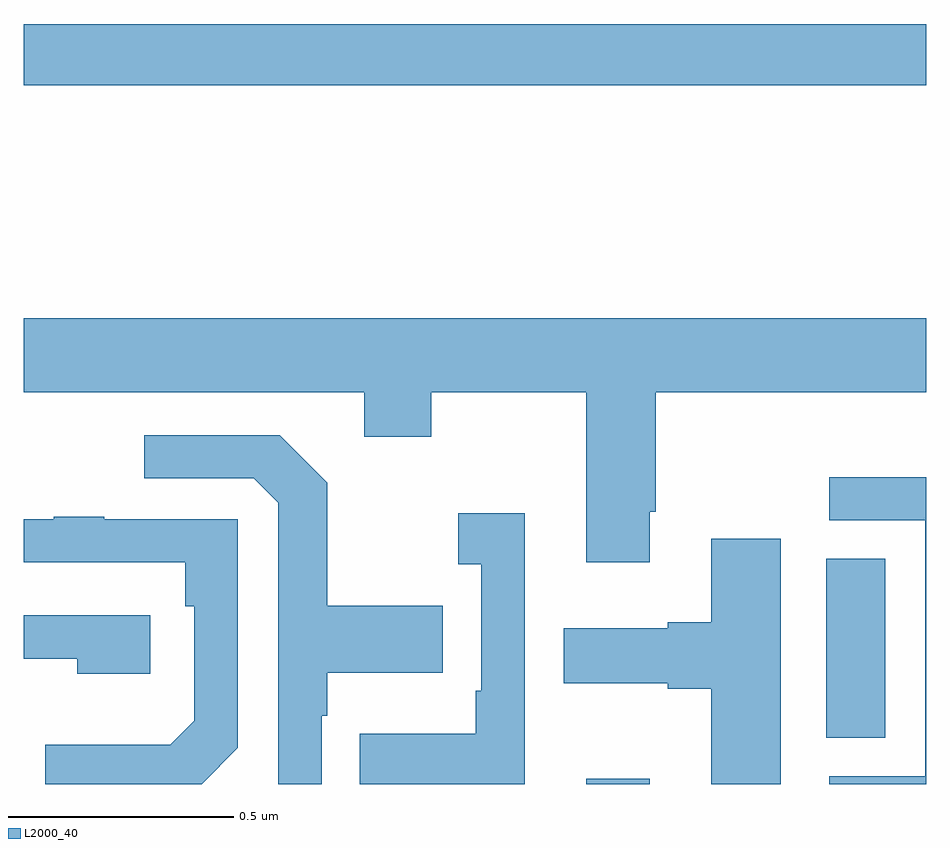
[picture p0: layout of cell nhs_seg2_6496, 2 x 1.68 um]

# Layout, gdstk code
import gdstk
lib = gdstk.Library(unit=1e-6, precision=1e-09)
def R(c, l, rs):  # rectangles x0, y0, x1, y1
    for r in rs: c.add(gdstk.rectangle(r[:2], r[2:], *l))
def P(c, l, *ps):  # polygons
    for p in ps: c.add(gdstk.Polygon(p, *l))
L2000_40 = (2000, 40)

nhs_seg2_6496 = lib.new_cell('nhs_seg2_6496')
R(nhs_seg2_6496, L2000_40, [(193.247,614.8,193.387,614.812), (193.778,614.902,193.909,615.299), (192,616.348,194,616.484)])
P(nhs_seg2_6496, L2000_40, [(193.387,615.403),(193.4,615.403),(193.4,615.668),(194,615.668),(194,615.832),(192,615.832),(192,615.668),(192.755,615.668),(192.755,615.569),(192.903,615.569),(192.903,615.668),(193.247,615.668),(193.247,615.291),(193.387,615.291)],
  [(192.66,614.951),(192.673,614.951),(192.673,615.047),(192.929,615.047),(192.929,615.195),(192.673,615.195),(192.673,615.467),(192.567,615.573),(192.267,615.573),(192.267,615.477),(192.51,615.477),(192.564,615.423),(192.564,614.8),(192.66,614.8)],
  [(194,615.48),(193.785,615.48),(193.785,615.384),(193.998,615.384),(193.998,614.817),(193.785,614.817),(193.785,614.8),(194,614.8)],
  [(193.11,615.4),(192.963,615.4),(192.963,615.287),(193.014,615.287),(193.014,615.007),(193.002,615.007),(193.002,614.911),(192.745,614.911),(192.745,614.8),(193.11,614.8)],
  [(192.474,614.88),(192.474,615.387),(192.179,615.387),(192.179,615.392),(192.067,615.392),(192.067,615.387),(192,615.387),(192,615.291),(192.358,615.291),(192.358,615.194),(192.378,615.194),(192.378,614.94),(192.325,614.887),(192.048,614.887),(192.048,614.8),(192.394,614.8)],
  [(193.678,615.343),(193.523,615.343),(193.523,615.158),(193.427,615.158),(193.427,615.145),(193.197,615.145),(193.197,615.023),(193.427,615.023),(193.427,615.011),(193.523,615.011),(193.523,614.8),(193.678,614.8)],
  [(192.28,615.174),(192,615.174),(192,615.078),(192.119,615.078),(192.119,615.044),(192.28,615.044)])

lib.write_gds('nhs_seg2_6496.gds')
